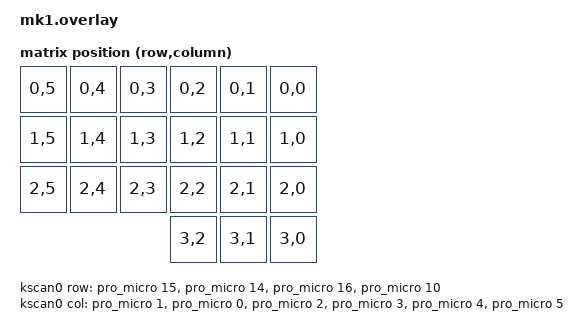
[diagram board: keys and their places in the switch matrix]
#include <dt-bindings/zmk/matrix_transform.h>
/ {
    chosen {
        zmk,kscan = &kscan0;
        zmk,matrix_transform = &default_transform;
        zephyr,code-partition = &code_partition;
        zephyr,display = &oled;
        zmk,battery = &vbatt;
    };

    kscan0: kscan {
        compatible = "zmk,kscan-gpio-matrix";
        label = "kscan0";
        diode-direction = "col2row";
        wakeup-source;

        row-gpios = 
                    <&pro_micro 15 (GPIO_ACTIVE_HIGH | GPIO_PULL_DOWN)>,
                    <&pro_micro 14 (GPIO_ACTIVE_HIGH | GPIO_PULL_DOWN)>,
                    <&pro_micro 16 (GPIO_ACTIVE_HIGH | GPIO_PULL_DOWN)>,
                    <&pro_micro 10 (GPIO_ACTIVE_HIGH | GPIO_PULL_DOWN)>;

        col-gpios = 
                    <&pro_micro 1 GPIO_ACTIVE_HIGH>,
                    <&pro_micro 0 GPIO_ACTIVE_HIGH>,
                    <&pro_micro 2 GPIO_ACTIVE_HIGH>,
                    <&pro_micro 3 GPIO_ACTIVE_HIGH>,
                    <&pro_micro 4 GPIO_ACTIVE_HIGH>,
                    <&pro_micro 5 GPIO_ACTIVE_HIGH>;
    };

    default_transform: matrix_transform {
        compatible = "zmk,matrix-transform";
        columns = <6>;
        rows = <4>;

        map = <
            RC(0,5) RC(0,4) RC(0,3) RC(0,2) RC(0,1) RC(0,0)
            RC(1,5) RC(1,4) RC(1,3) RC(1,2) RC(1,1) RC(1,0)
            RC(2,5) RC(2,4) RC(2,3) RC(2,2) RC(2,1) RC(2,0)
                                    RC(3,2) RC(3,1) RC(3,0) 
        >;
    };

    default_split: split {
        compatible = "zmk,split";
        role = "central";
    };

    vbatt: vbatt {
        compatible = "zmk,battery-nrf-vddh";
    };
};


&pro_micro_i2c {
    status = "okay";

    oled: ssd1306@3c {
        compatible = "solomon,ssd1306fb";
        reg = <0x3c>;
        width = <128>;
        height = <32>;
        segment-offset = <0>;
        page-offset = <0>;
        display-offset = <0>;
        multiplex-ratio = <31>;
        segment-remap;
        com-invdir;
        com-sequential;
        inversion-on;
        prechargep = <0x22>;
    };
};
